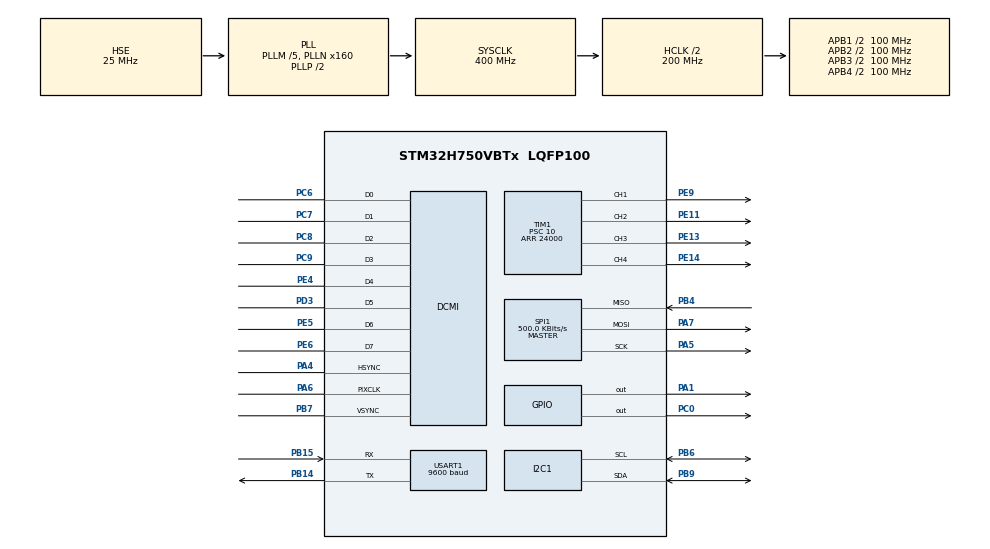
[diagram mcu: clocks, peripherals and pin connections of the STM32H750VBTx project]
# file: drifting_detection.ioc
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CORTEX_M7.default_mode_Activation=1
DCMI.JPEGMode=DCMI_JPEG_DISABLE
DCMI.PCKPolarity=DCMI_PCKPOLARITY_RISING
I2C1.Timing=0x10C0ECFF
Mcu.Family=STM32H7
Mcu.Name=STM32H750VBTx
Mcu.Package=LQFP100
NVIC.PriorityGroup=NVIC_PRIORITYGROUP_4
NVIC.TIM6_DAC_IRQn=true\:0\:0\:false\:false\:true\:true\:true\:true
NVIC.USART1_IRQn=true\:0\:0\:false\:false\:true\:true\:true\:true
PA1.Signal=GPIO_Output
PA4.Mode=Slave_8_bits_External_Synchro
PA4.Signal=DCMI_HSYNC
PA5.Mode=Full_Duplex_Master
PA5.Signal=SPI1_SCK
PA6.Mode=Slave_8_bits_External_Synchro
PA6.Signal=DCMI_PIXCLK
PA7.Mode=Full_Duplex_Master
PA7.Signal=SPI1_MOSI
PB14.Mode=Asynchronous
PB14.Signal=USART1_TX
PB15.Mode=Asynchronous
PB15.Signal=USART1_RX
PB4\ (NJTRST).Mode=Full_Duplex_Master
PB4\ (NJTRST).Signal=SPI1_MISO
PB6.Mode=I2C
PB6.Signal=I2C1_SCL
PB7.Mode=Slave_8_bits_External_Synchro
PB7.Signal=DCMI_VSYNC
PB9.Mode=I2C
PB9.Signal=I2C1_SDA
PC0.Signal=GPIO_Output
PC6.Mode=Slave_8_bits_External_Synchro
PC6.Signal=DCMI_D0
PC7.Mode=Slave_8_bits_External_Synchro
PC7.Signal=DCMI_D1
PC8.Mode=Slave_8_bits_External_Synchro
PC8.Signal=DCMI_D2
PC9.Mode=Slave_8_bits_External_Synchro
PC9.Signal=DCMI_D3
PD3.Mode=Slave_8_bits_External_Synchro
PD3.Signal=DCMI_D5
PE11.Signal=S_TIM1_CH2
PE13.Signal=S_TIM1_CH3
PE14.Signal=S_TIM1_CH4
PE4.Mode=Slave_8_bits_External_Synchro
PE4.Signal=DCMI_D4
PE5.Mode=Slave_8_bits_External_Synchro
PE5.Signal=DCMI_D6
PE6.Mode=Slave_8_bits_External_Synchro
PE6.Signal=DCMI_D7
PE9.Signal=S_TIM1_CH1
PH0-OSC_IN\ (PH0).Mode=HSE-External-Oscillator
PH0-OSC_IN\ (PH0).Signal=RCC_OSC_IN
PH1-OSC_OUT\ (PH1).Mode=HSE-External-Oscillator
PH1-OSC_OUT\ (PH1).Signal=RCC_OSC_OUT
ProjectManager.HeapSize=0x200
ProjectManager.StackSize=0x400
ProjectManager.TargetToolchain=STM32CubeIDE
RCC.ADCFreq_Value=50390625
RCC.APB1Freq_Value=100000000
RCC.APB2Freq_Value=100000000
RCC.APB3Freq_Value=100000000
RCC.APB4Freq_Value=100000000
RCC.CortexFreq_Value=400000000
RCC.D1PPRE=RCC_APB3_DIV2
RCC.D2PPRE1=RCC_APB1_DIV2
RCC.D2PPRE2=RCC_APB2_DIV2
RCC.D3PPRE=RCC_APB4_DIV2
RCC.DIVM1=5
RCC.DIVN1=160
RCC.HCLKFreq_Value=200000000
RCC.HPRE=RCC_HCLK_DIV2
RCC.PLLSourceVirtual=RCC_PLLSOURCE_HSE
RCC.SPI123CLockSelection=RCC_SPI123CLKSOURCE_CLKP
RCC.SYSCLKFreq_VALUE=400000000
RCC.SYSCLKSource=RCC_SYSCLKSOURCE_PLLCLK
RCC.USBFreq_Value=400000000
SH.S_TIM1_CH1.0=TIM1_CH1,PWM Generation1 CH1
SH.S_TIM1_CH2.0=TIM1_CH2,PWM Generation2 CH2
SH.S_TIM1_CH3.0=TIM1_CH3,PWM Generation3 CH3
SH.S_TIM1_CH4.0=TIM1_CH4,PWM Generation4 CH4
SPI1.BaudRatePrescaler=SPI_BAUDRATEPRESCALER_128
SPI1.CalculateBaudRate=500.0 KBits/s
SPI1.DataSize=SPI_DATASIZE_8BIT
SPI1.Direction=SPI_DIRECTION_2LINES
SPI1.Mode=SPI_MODE_MASTER
SPI1.VirtualType=VM_MASTER
TIM1.Channel-PWM\ Generation1\ CH1=TIM_CHANNEL_1
TIM1.Channel-PWM\ Generation2\ CH2=TIM_CHANNEL_2
TIM1.Channel-PWM\ Generation3\ CH3=TIM_CHANNEL_3
TIM1.Channel-PWM\ Generation4\ CH4=TIM_CHANNEL_4
TIM1.Period=24000
TIM1.Prescaler=10
TIM6.Period=2500
TIM6.Prescaler=100
USART1.BaudRate=9600
USART1.VirtualMode-Asynchronous=VM_ASYNC
VP_TIM1_VS_ClockSourceINT.Mode=Internal
VP_TIM6_VS_ClockSourceINT.Mode=Enable_Timer
board=custom

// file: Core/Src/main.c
/* USER CODE BEGIN Header */
/**
  ******************************************************************************
  * @file           : main.c
  * @brief          : Main program body
  ******************************************************************************
  * @attention
  *
  * Copyright (c) 2022 STMicroelectronics.
  * All rights reserved.
  *
  * This software is licensed under terms that can be found in the LICENSE file
  * in the root directory of this software component.
  * If no LICENSE file comes with this software, it is provided AS-IS.
  *
  ******************************************************************************
  */
/* USER CODE END Header */
#include "main.h"

/* USER CODE BEGIN Includes */

#include "optical_flow.h"

/* USER CODE END Includes */

DCMI_HandleTypeDef hdcmi;

I2C_HandleTypeDef hi2c1;

SPI_HandleTypeDef hspi1;

TIM_HandleTypeDef htim1;
TIM_HandleTypeDef htim6;

UART_HandleTypeDef huart1;

/* USER CODE BEGIN PV */

optical_flow_t g_optflw;

/* USER CODE END PV */

void SystemClock_Config(void);
void PeriphCommonClock_Config(void);
static void MPU_Config(void);
static void MX_GPIO_Init(void);
static void MX_I2C1_Init(void);
static void MX_SPI1_Init(void);
static void MX_TIM6_Init(void);
static void MX_TIM1_Init(void);
static void MX_DCMI_Init(void);
static void MX_USART1_UART_Init(void);

/* USER CODE BEGIN 0 */

static void flash(uint8_t count) {
  for (int i = 0; i < count; i++) {
    HAL_GPIO_TogglePin(GPIOA, GPIO_PIN_1);
    HAL_Delay(100);
    HAL_GPIO_TogglePin(GPIOA, GPIO_PIN_1);
    HAL_Delay(100);
  }

  HAL_Delay(200);
}

/* USER CODE END 0 */

int main(void)
{

  /* MPU Configuration--------------------------------------------------------*/
  MPU_Config();

  /* MCU Configuration--------------------------------------------------------*/

  /* Reset of all peripherals, Initializes the Flash interface and the Systick. */
  HAL_Init();

  /* Configure the system clock */
  SystemClock_Config();

/* Configure the peripherals common clocks */
  PeriphCommonClock_Config();

  /* Initialize all configured peripherals */
  MX_GPIO_Init();
  MX_I2C1_Init();
  MX_SPI1_Init();
  MX_TIM6_Init();
  MX_TIM1_Init();
  MX_DCMI_Init();
  MX_USART1_UART_Init();
  /* USER CODE BEGIN 2 */

  flash(5);

  // Initialise GY-86
  while (1) {
    int error = optical_flow_init(&g_optflw, &huart1);
    if (error == 0) break;
    flash(error);
  }

  flash(5);

  // For output PWM
  HAL_TIM_PWM_Start(&htim1, TIM_CHANNEL_1);
  HAL_TIM_PWM_Start(&htim1, TIM_CHANNEL_2);
  HAL_TIM_PWM_Start(&htim1, TIM_CHANNEL_3);
  HAL_TIM_PWM_Start(&htim1, TIM_CHANNEL_4);

  // Optical flow timer
  HAL_TIM_Base_Start_IT(&htim6);

  /* USER CODE END 2 */

  /* Infinite loop */
  while (1)
  {

  }
}

void SystemClock_Config(void)
{
  RCC_OscInitTypeDef RCC_OscInitStruct = {0};
  RCC_ClkInitTypeDef RCC_ClkInitStruct = {0};

  /** Supply configuration update enable
  */
  HAL_PWREx_ConfigSupply(PWR_LDO_SUPPLY);

  /** Configure the main internal regulator output voltage
  */
  __HAL_PWR_VOLTAGESCALING_CONFIG(PWR_REGULATOR_VOLTAGE_SCALE1);

  while(!__HAL_PWR_GET_FLAG(PWR_FLAG_VOSRDY)) {}

  /** Initializes the RCC Oscillators according to the specified parameters
  * in the RCC_OscInitTypeDef structure.
  */
  RCC_OscInitStruct.OscillatorType = RCC_OSCILLATORTYPE_HSI|RCC_OSCILLATORTYPE_HSE;
  RCC_OscInitStruct.HSEState = RCC_HSE_ON;
  RCC_OscInitStruct.HSIState = RCC_HSI_DIV1;
  RCC_OscInitStruct.HSICalibrationValue = RCC_HSICALIBRATION_DEFAULT;
  RCC_OscInitStruct.PLL.PLLState = RCC_PLL_ON;
  RCC_OscInitStruct.PLL.PLLSource = RCC_PLLSOURCE_HSE;
  RCC_OscInitStruct.PLL.PLLM = 5;
  RCC_OscInitStruct.PLL.PLLN = 160;
  RCC_OscInitStruct.PLL.PLLP = 2;
  RCC_OscInitStruct.PLL.PLLQ = 2;
  RCC_OscInitStruct.PLL.PLLR = 2;
  RCC_OscInitStruct.PLL.PLLRGE = RCC_PLL1VCIRANGE_2;
  RCC_OscInitStruct.PLL.PLLVCOSEL = RCC_PLL1VCOWIDE;
  RCC_OscInitStruct.PLL.PLLFRACN = 0;
  if (HAL_RCC_OscConfig(&RCC_OscInitStruct) != HAL_OK)
  {
    Error_Handler();
  }

  /** Initializes the CPU, AHB and APB buses clocks
  */
  RCC_ClkInitStruct.ClockType = RCC_CLOCKTYPE_HCLK|RCC_CLOCKTYPE_SYSCLK
                              |RCC_CLOCKTYPE_PCLK1|RCC_CLOCKTYPE_PCLK2
                              |RCC_CLOCKTYPE_D3PCLK1|RCC_CLOCKTYPE_D1PCLK1;
  RCC_ClkInitStruct.SYSCLKSource = RCC_SYSCLKSOURCE_PLLCLK;
  RCC_ClkInitStruct.SYSCLKDivider = RCC_SYSCLK_DIV1;
  RCC_ClkInitStruct.AHBCLKDivider = RCC_HCLK_DIV2;
  RCC_ClkInitStruct.APB3CLKDivider = RCC_APB3_DIV2;
  RCC_ClkInitStruct.APB1CLKDivider = RCC_APB1_DIV2;
  RCC_ClkInitStruct.APB2CLKDivider = RCC_APB2_DIV2;
  RCC_ClkInitStruct.APB4CLKDivider = RCC_APB4_DIV2;

  if (HAL_RCC_ClockConfig(&RCC_ClkInitStruct, FLASH_LATENCY_2) != HAL_OK)
  {
    Error_Handler();
  }
}

void PeriphCommonClock_Config(void)
{
  RCC_PeriphCLKInitTypeDef PeriphClkInitStruct = {0};

  /** Initializes the peripherals clock
  */
  PeriphClkInitStruct.PeriphClockSelection = RCC_PERIPHCLK_CKPER;
  PeriphClkInitStruct.CkperClockSelection = RCC_CLKPSOURCE_HSI;
  if (HAL_RCCEx_PeriphCLKConfig(&PeriphClkInitStruct) != HAL_OK)
  {
    Error_Handler();
  }
}

static void MX_DCMI_Init(void)
{

  hdcmi.Instance = DCMI;
  hdcmi.Init.SynchroMode = DCMI_SYNCHRO_HARDWARE;
  hdcmi.Init.PCKPolarity = DCMI_PCKPOLARITY_RISING;
  hdcmi.Init.VSPolarity = DCMI_VSPOLARITY_LOW;
  hdcmi.Init.HSPolarity = DCMI_HSPOLARITY_LOW;
  hdcmi.Init.CaptureRate = DCMI_CR_ALL_FRAME;
  hdcmi.Init.ExtendedDataMode = DCMI_EXTEND_DATA_8B;
  hdcmi.Init.JPEGMode = DCMI_JPEG_DISABLE;
  hdcmi.Init.ByteSelectMode = DCMI_BSM_ALL;
  hdcmi.Init.ByteSelectStart = DCMI_OEBS_ODD;
  hdcmi.Init.LineSelectMode = DCMI_LSM_ALL;
  hdcmi.Init.LineSelectStart = DCMI_OELS_ODD;
  if (HAL_DCMI_Init(&hdcmi) != HAL_OK)
  {
    Error_Handler();
  }

}

static void MX_I2C1_Init(void)
{

  hi2c1.Instance = I2C1;
  hi2c1.Init.Timing = 0x10C0ECFF;
  hi2c1.Init.OwnAddress1 = 0;
  hi2c1.Init.AddressingMode = I2C_ADDRESSINGMODE_7BIT;
  hi2c1.Init.DualAddressMode = I2C_DUALADDRESS_DISABLE;
  hi2c1.Init.OwnAddress2 = 0;
  hi2c1.Init.OwnAddress2Masks = I2C_OA2_NOMASK;
  hi2c1.Init.GeneralCallMode = I2C_GENERALCALL_DISABLE;
  hi2c1.Init.NoStretchMode = I2C_NOSTRETCH_DISABLE;
  if (HAL_I2C_Init(&hi2c1) != HAL_OK)
  {
    Error_Handler();
  }

  /** Configure Analogue filter
  */
  if (HAL_I2CEx_ConfigAnalogFilter(&hi2c1, I2C_ANALOGFILTER_ENABLE) != HAL_OK)
  {
    Error_Handler();
  }

  /** Configure Digital filter
  */
  if (HAL_I2CEx_ConfigDigitalFilter(&hi2c1, 0) != HAL_OK)
  {
    Error_Handler();
  }

}

static void MX_SPI1_Init(void)
{

  /* SPI1 parameter configuration*/
  hspi1.Instance = SPI1;
  hspi1.Init.Mode = SPI_MODE_MASTER;
  hspi1.Init.Direction = SPI_DIRECTION_2LINES;
  hspi1.Init.DataSize = SPI_DATASIZE_8BIT;
  hspi1.Init.CLKPolarity = SPI_POLARITY_LOW;
  hspi1.Init.CLKPhase = SPI_PHASE_1EDGE;
  hspi1.Init.NSS = SPI_NSS_SOFT;
  hspi1.Init.BaudRatePrescaler = SPI_BAUDRATEPRESCALER_128;
  hspi1.Init.FirstBit = SPI_FIRSTBIT_MSB;
  hspi1.Init.TIMode = SPI_TIMODE_DISABLE;
  hspi1.Init.CRCCalculation = SPI_CRCCALCULATION_DISABLE;
  hspi1.Init.CRCPolynomial = 0x0;
  hspi1.Init.NSSPMode = SPI_NSS_PULSE_ENABLE;
  hspi1.Init.NSSPolarity = SPI_NSS_POLARITY_LOW;
  hspi1.Init.FifoThreshold = SPI_FIFO_THRESHOLD_01DATA;
  hspi1.Init.TxCRCInitializationPattern = SPI_CRC_INITIALIZATION_ALL_ZERO_PATTERN;
  hspi1.Init.RxCRCInitializationPattern = SPI_CRC_INITIALIZATION_ALL_ZERO_PATTERN;
  hspi1.Init.MasterSSIdleness = SPI_MASTER_SS_IDLENESS_00CYCLE;
  hspi1.Init.MasterInterDataIdleness = SPI_MASTER_INTERDATA_IDLENESS_00CYCLE;
  hspi1.Init.MasterReceiverAutoSusp = SPI_MASTER_RX_AUTOSUSP_DISABLE;
  hspi1.Init.MasterKeepIOState = SPI_MASTER_KEEP_IO_STATE_DISABLE;
  hspi1.Init.IOSwap = SPI_IO_SWAP_DISABLE;
  if (HAL_SPI_Init(&hspi1) != HAL_OK)
  {
    Error_Handler();
  }

}

static void MX_TIM1_Init(void)
{

  TIM_ClockConfigTypeDef sClockSourceConfig = {0};
  TIM_MasterConfigTypeDef sMasterConfig = {0};
  TIM_OC_InitTypeDef sConfigOC = {0};
  TIM_BreakDeadTimeConfigTypeDef sBreakDeadTimeConfig = {0};

  htim1.Instance = TIM1;
  htim1.Init.Prescaler = 10;
  htim1.Init.CounterMode = TIM_COUNTERMODE_UP;
  htim1.Init.Period = 24000;
  htim1.Init.ClockDivision = TIM_CLOCKDIVISION_DIV1;
  htim1.Init.RepetitionCounter = 0;
  htim1.Init.AutoReloadPreload = TIM_AUTORELOAD_PRELOAD_DISABLE;
  if (HAL_TIM_Base_Init(&htim1) != HAL_OK)
  {
    Error_Handler();
  }
  sClockSourceConfig.ClockSource = TIM_CLOCKSOURCE_INTERNAL;
  if (HAL_TIM_ConfigClockSource(&htim1, &sClockSourceConfig) != HAL_OK)
  {
    Error_Handler();
  }
  if (HAL_TIM_PWM_Init(&htim1) != HAL_OK)
  {
    Error_Handler();
  }
  sMasterConfig.MasterOutputTrigger = TIM_TRGO_RESET;
  sMasterConfig.MasterOutputTrigger2 = TIM_TRGO2_RESET;
  sMasterConfig.MasterSlaveMode = TIM_MASTERSLAVEMODE_DISABLE;
  if (HAL_TIMEx_MasterConfigSynchronization(&htim1, &sMasterConfig) != HAL_OK)
  {
    Error_Handler();
  }
  sConfigOC.OCMode = TIM_OCMODE_PWM1;
  sConfigOC.Pulse = 0;
  sConfigOC.OCPolarity = TIM_OCPOLARITY_HIGH;
  sConfigOC.OCNPolarity = TIM_OCNPOLARITY_HIGH;
  sConfigOC.OCFastMode = TIM_OCFAST_DISABLE;
  sConfigOC.OCIdleState = TIM_OCIDLESTATE_RESET;
  sConfigOC.OCNIdleState = TIM_OCNIDLESTATE_RESET;
  if (HAL_TIM_PWM_ConfigChannel(&htim1, &sConfigOC, TIM_CHANNEL_1) != HAL_OK)
  {
    Error_Handler();
  }
  if (HAL_TIM_PWM_ConfigChannel(&htim1, &sConfigOC, TIM_CHANNEL_2) != HAL_OK)
  {
    Error_Handler();
  }
  if (HAL_TIM_PWM_ConfigChannel(&htim1, &sConfigOC, TIM_CHANNEL_3) != HAL_OK)
  {
    Error_Handler();
  }
  if (HAL_TIM_PWM_ConfigChannel(&htim1, &sConfigOC, TIM_CHANNEL_4) != HAL_OK)
  {
    Error_Handler();
  }
  sBreakDeadTimeConfig.OffStateRunMode = TIM_OSSR_DISABLE;
  sBreakDeadTimeConfig.OffStateIDLEMode = TIM_OSSI_DISABLE;
  sBreakDeadTimeConfig.LockLevel = TIM_LOCKLEVEL_OFF;
  sBreakDeadTimeConfig.DeadTime = 0;
  sBreakDeadTimeConfig.BreakState = TIM_BREAK_DISABLE;
  sBreakDeadTimeConfig.BreakPolarity = TIM_BREAKPOLARITY_HIGH;
  sBreakDeadTimeConfig.BreakFilter = 0;
  sBreakDeadTimeConfig.Break2State = TIM_BREAK2_DISABLE;
  sBreakDeadTimeConfig.Break2Polarity = TIM_BREAK2POLARITY_HIGH;
  sBreakDeadTimeConfig.Break2Filter = 0;
  sBreakDeadTimeConfig.AutomaticOutput = TIM_AUTOMATICOUTPUT_DISABLE;
  if (HAL_TIMEx_ConfigBreakDeadTime(&htim1, &sBreakDeadTimeConfig) != HAL_OK)
  {
    Error_Handler();
  }
  HAL_TIM_MspPostInit(&htim1);

}

static void MX_TIM6_Init(void)
{

  TIM_MasterConfigTypeDef sMasterConfig = {0};

  htim6.Instance = TIM6;
  htim6.Init.Prescaler = 100;
  htim6.Init.CounterMode = TIM_COUNTERMODE_UP;
  htim6.Init.Period = 2500;
  htim6.Init.AutoReloadPreload = TIM_AUTORELOAD_PRELOAD_DISABLE;
  if (HAL_TIM_Base_Init(&htim6) != HAL_OK)
  {
    Error_Handler();
  }
  sMasterConfig.MasterOutputTrigger = TIM_TRGO_RESET;
  sMasterConfig.MasterSlaveMode = TIM_MASTERSLAVEMODE_DISABLE;
  if (HAL_TIMEx_MasterConfigSynchronization(&htim6, &sMasterConfig) != HAL_OK)
  {
    Error_Handler();
  }

}

static void MX_USART1_UART_Init(void)
{

  huart1.Instance = USART1;
  huart1.Init.BaudRate = 9600;
  huart1.Init.WordLength = UART_WORDLENGTH_8B;
  huart1.Init.StopBits = UART_STOPBITS_1;
  huart1.Init.Parity = UART_PARITY_NONE;
  huart1.Init.Mode = UART_MODE_TX_RX;
  huart1.Init.HwFlowCtl = UART_HWCONTROL_NONE;
  huart1.Init.OverSampling = UART_OVERSAMPLING_16;
  huart1.Init.OneBitSampling = UART_ONE_BIT_SAMPLE_DISABLE;
  huart1.Init.ClockPrescaler = UART_PRESCALER_DIV1;
  huart1.AdvancedInit.AdvFeatureInit = UART_ADVFEATURE_NO_INIT;
  if (HAL_UART_Init(&huart1) != HAL_OK)
  {
    Error_Handler();
  }
  if (HAL_UARTEx_SetTxFifoThreshold(&huart1, UART_TXFIFO_THRESHOLD_1_8) != HAL_OK)
  {
    Error_Handler();
  }
  if (HAL_UARTEx_SetRxFifoThreshold(&huart1, UART_RXFIFO_THRESHOLD_1_8) != HAL_OK)
  {
    Error_Handler();
  }
  if (HAL_UARTEx_DisableFifoMode(&huart1) != HAL_OK)
  {
    Error_Handler();
  }

}

static void MX_GPIO_Init(void)
{
  GPIO_InitTypeDef GPIO_InitStruct = {0};

  /* GPIO Ports Clock Enable */
  __HAL_RCC_GPIOE_CLK_ENABLE();
  __HAL_RCC_GPIOH_CLK_ENABLE();
  __HAL_RCC_GPIOC_CLK_ENABLE();
  __HAL_RCC_GPIOA_CLK_ENABLE();
  __HAL_RCC_GPIOB_CLK_ENABLE();
  __HAL_RCC_GPIOD_CLK_ENABLE();

  /*Configure GPIO pin Output Level */
  HAL_GPIO_WritePin(GPIOC, GPIO_PIN_0, GPIO_PIN_RESET);

  /*Configure GPIO pin Output Level */
  HAL_GPIO_WritePin(GPIOA, GPIO_PIN_1, GPIO_PIN_RESET);

  /*Configure GPIO pin : PC0 */
  GPIO_InitStruct.Pin = GPIO_PIN_0;
  GPIO_InitStruct.Mode = GPIO_MODE_OUTPUT_PP;
  GPIO_InitStruct.Pull = GPIO_NOPULL;
  GPIO_InitStruct.Speed = GPIO_SPEED_FREQ_LOW;
  HAL_GPIO_Init(GPIOC, &GPIO_InitStruct);

  /*Configure GPIO pin : PA1 */
  GPIO_InitStruct.Pin = GPIO_PIN_1;
  GPIO_InitStruct.Mode = GPIO_MODE_OUTPUT_PP;
  GPIO_InitStruct.Pull = GPIO_NOPULL;
  GPIO_InitStruct.Speed = GPIO_SPEED_FREQ_LOW;
  HAL_GPIO_Init(GPIOA, &GPIO_InitStruct);

}

/* MPU Configuration */

void MPU_Config(void)
{
  MPU_Region_InitTypeDef MPU_InitStruct = {0};

  /* Disables the MPU */
  HAL_MPU_Disable();

  /** Initializes and configures the Region and the memory to be protected
  */
  MPU_InitStruct.Enable = MPU_REGION_ENABLE;
  MPU_InitStruct.Number = MPU_REGION_NUMBER0;
  MPU_InitStruct.BaseAddress = 0x0;
  MPU_InitStruct.Size = MPU_REGION_SIZE_4GB;
  MPU_InitStruct.SubRegionDisable = 0x87;
  MPU_InitStruct.TypeExtField = MPU_TEX_LEVEL0;
  MPU_InitStruct.AccessPermission = MPU_REGION_NO_ACCESS;
  MPU_InitStruct.DisableExec = MPU_INSTRUCTION_ACCESS_DISABLE;
  MPU_InitStruct.IsShareable = MPU_ACCESS_SHAREABLE;
  MPU_InitStruct.IsCacheable = MPU_ACCESS_NOT_CACHEABLE;
  MPU_InitStruct.IsBufferable = MPU_ACCESS_NOT_BUFFERABLE;

  HAL_MPU_ConfigRegion(&MPU_InitStruct);
  /* Enables the MPU */
  HAL_MPU_Enable(MPU_PRIVILEGED_DEFAULT);

}

void Error_Handler(void)
{
  __disable_irq();
  while (1)
  {
  }
}
